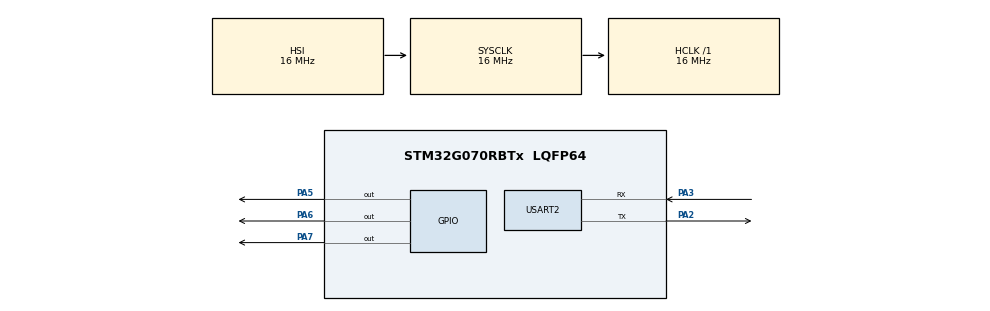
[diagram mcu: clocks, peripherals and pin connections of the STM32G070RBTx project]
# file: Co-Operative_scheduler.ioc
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Mcu.Family=STM32G0
Mcu.Name=STM32G070RBTx
Mcu.Package=LQFP64
NVIC.TIM3_IRQn=true\:3\:0\:false\:false\:true\:false\:true\:true
NVIC.TimeBase=TIM3_IRQn
NVIC.TimeBaseIP=TIM3
PA13.Mode=Serial_Wire
PA13.Signal=SYS_SWDIO
PA14-BOOT0.Mode=Serial_Wire
PA14-BOOT0.Signal=SYS_SWCLK
PA2.Mode=Asynchronous
PA2.Signal=USART2_TX
PA3.Mode=Asynchronous
PA3.Signal=USART2_RX
PA5.Signal=GPIO_Output
PA6.Signal=GPIO_Output
PA7.Signal=GPIO_Output
PC14-OSC32_IN\ (PC14).Mode=LSE-External-Oscillator
PC14-OSC32_IN\ (PC14).Signal=RCC_OSC32_IN
PC15-OSC32_OUT\ (PC15).Mode=LSE-External-Oscillator
PC15-OSC32_OUT\ (PC15).Signal=RCC_OSC32_OUT
PF0-OSC_IN\ (PF0).Mode=HSE-External-Clock-Source
PF0-OSC_IN\ (PF0).Signal=RCC_OSC_IN
ProjectManager.HeapSize=0x200
ProjectManager.StackSize=0x400
ProjectManager.TargetToolchain=STM32CubeIDE
RCC.AHBFreq_Value=16000000
RCC.CortexFreq_Value=16000000
RCC.EXTERNAL_CLOCK_VALUE=12288000
RCC.HCLKFreq_Value=16000000
RCC.HSE_VALUE=8000000
RCC.HSI_VALUE=16000000
RCC.SYSCLKFreq_VALUE=16000000
RCC.VCOOutputFreq_Value=128000000
USART2.VirtualMode-Asynchronous=VM_ASYNC
VP_SYS_VS_tim3.Mode=TIM3
board=NUCLEO-G070RB

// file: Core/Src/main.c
/* USER CODE BEGIN Header */
/**
  ******************************************************************************
  * @file           : main.c
  * @brief          : Main program body
  ******************************************************************************
  * @attention
  *
  * Copyright (c) 2023 STMicroelectronics.
  * All rights reserved.
  *
  * This software is licensed under terms that can be found in the LICENSE file
  * in the root directory of this software component.
  * If no LICENSE file comes with this software, it is provided AS-IS.
  *
  ******************************************************************************
  */
/* USER CODE END Header */
#include "main.h"

/* USER CODE BEGIN Includes */
#include "FreeRTOS.h"
//#include "semphr.h"
#include "task.h"
//#include "stdlib.h"

/* USER CODE END Includes */

UART_HandleTypeDef huart2;

void SystemClock_Config(void);
static void MX_GPIO_Init(void);
static void MX_USART2_UART_Init(void);
/* USER CODE BEGIN PFP */
static void task1(void *p);
static void task2(void *p);

/* USER CODE END PFP */

/* USER CODE BEGIN 0 */

void transmit1 (void)
{
	uint8_t data[] = "HELLO TASK1\r\n";
	HAL_UART_Transmit(&huart2, data, sizeof(data), 1000);
}

void transmit2 (void)
{
	uint8_t data[] = "HELLO TASK2\r\n";
	HAL_UART_Transmit(&huart2, data, sizeof(data), 1000);
}

static void task1(void *p)
{
	//uint32_t i;

	while(1)
	{
		//for (i=0; i<5;i++)
		//{
			transmit1();
		//HAL_GPIO_TogglePin(GPIOA,GPIO_PIN_5);
		//delay(1000);
		//vTaskDelay(1000);
			taskYIELD();

	//}
		//vTaskResume(t2);
		//vTaskSuspend(t1);
}
}

static void task2(void *p)
{
	//uint32_t i;

		while(1)
		{
			//for (i=0; i<5;i++)
			//{
			transmit2();
			//HAL_GPIO_TogglePin(GPIOA,GPIO_PIN_6);
			//delay(1000);
			vTaskDelay(1);

		//}
			//vTaskResume(t3);
				//		vTaskSuspend(t2);
	}
}

/* USER CODE END 0 */

int main(void)
{
  /* USER CODE BEGIN 1 */
	TaskHandle_t t1,t2;

  /* USER CODE END 1 */

  /* MCU Configuration--------------------------------------------------------*/

  /* Reset of all peripherals, Initializes the Flash interface and the Systick. */
  HAL_Init();

  /* Configure the system clock */
  SystemClock_Config();

  /* Initialize all configured peripherals */
  MX_GPIO_Init();
  MX_USART2_UART_Init();
  /* USER CODE BEGIN 2 */

  xTaskCreate(task1, "T1",500, NULL, 1, &t1);
  xTaskCreate(task2, "T2",500, NULL, 2, &t2);

  vTaskStartScheduler();

  /* USER CODE END 2 */

  /* Infinite loop */
  while (1)
  {

  }
}

void SystemClock_Config(void)
{
  RCC_OscInitTypeDef RCC_OscInitStruct = {0};
  RCC_ClkInitTypeDef RCC_ClkInitStruct = {0};

  /** Configure the main internal regulator output voltage
  */
  HAL_PWREx_ControlVoltageScaling(PWR_REGULATOR_VOLTAGE_SCALE1);

  /** Initializes the RCC Oscillators according to the specified parameters
  * in the RCC_OscInitTypeDef structure.
  */
  RCC_OscInitStruct.OscillatorType = RCC_OSCILLATORTYPE_HSI;
  RCC_OscInitStruct.HSIState = RCC_HSI_ON;
  RCC_OscInitStruct.HSIDiv = RCC_HSI_DIV1;
  RCC_OscInitStruct.HSICalibrationValue = RCC_HSICALIBRATION_DEFAULT;
  RCC_OscInitStruct.PLL.PLLState = RCC_PLL_NONE;
  if (HAL_RCC_OscConfig(&RCC_OscInitStruct) != HAL_OK)
  {
    Error_Handler();
  }

  /** Initializes the CPU, AHB and APB buses clocks
  */
  RCC_ClkInitStruct.ClockType = RCC_CLOCKTYPE_HCLK|RCC_CLOCKTYPE_SYSCLK
                              |RCC_CLOCKTYPE_PCLK1;
  RCC_ClkInitStruct.SYSCLKSource = RCC_SYSCLKSOURCE_HSI;
  RCC_ClkInitStruct.AHBCLKDivider = RCC_SYSCLK_DIV1;
  RCC_ClkInitStruct.APB1CLKDivider = RCC_HCLK_DIV1;

  if (HAL_RCC_ClockConfig(&RCC_ClkInitStruct, FLASH_LATENCY_0) != HAL_OK)
  {
    Error_Handler();
  }
}

static void MX_USART2_UART_Init(void)
{

  huart2.Instance = USART2;
  huart2.Init.BaudRate = 115200;
  huart2.Init.WordLength = UART_WORDLENGTH_8B;
  huart2.Init.StopBits = UART_STOPBITS_1;
  huart2.Init.Parity = UART_PARITY_NONE;
  huart2.Init.Mode = UART_MODE_TX_RX;
  huart2.Init.HwFlowCtl = UART_HWCONTROL_NONE;
  huart2.Init.OverSampling = UART_OVERSAMPLING_16;
  huart2.Init.OneBitSampling = UART_ONE_BIT_SAMPLE_DISABLE;
  huart2.Init.ClockPrescaler = UART_PRESCALER_DIV1;
  huart2.AdvancedInit.AdvFeatureInit = UART_ADVFEATURE_NO_INIT;
  if (HAL_UART_Init(&huart2) != HAL_OK)
  {
    Error_Handler();
  }
  if (HAL_UARTEx_SetTxFifoThreshold(&huart2, UART_TXFIFO_THRESHOLD_1_8) != HAL_OK)
  {
    Error_Handler();
  }
  if (HAL_UARTEx_SetRxFifoThreshold(&huart2, UART_RXFIFO_THRESHOLD_1_8) != HAL_OK)
  {
    Error_Handler();
  }
  if (HAL_UARTEx_DisableFifoMode(&huart2) != HAL_OK)
  {
    Error_Handler();
  }

}

static void MX_GPIO_Init(void)
{
  GPIO_InitTypeDef GPIO_InitStruct = {0};

  /* GPIO Ports Clock Enable */
  __HAL_RCC_GPIOC_CLK_ENABLE();
  __HAL_RCC_GPIOF_CLK_ENABLE();
  __HAL_RCC_GPIOA_CLK_ENABLE();

  /*Configure GPIO pin Output Level */
  HAL_GPIO_WritePin(GPIOA, GPIO_PIN_5|GPIO_PIN_6|GPIO_PIN_7, GPIO_PIN_RESET);

  /*Configure GPIO pins : PA5 PA6 PA7 */
  GPIO_InitStruct.Pin = GPIO_PIN_5|GPIO_PIN_6|GPIO_PIN_7;
  GPIO_InitStruct.Mode = GPIO_MODE_OUTPUT_PP;
  GPIO_InitStruct.Pull = GPIO_NOPULL;
  GPIO_InitStruct.Speed = GPIO_SPEED_FREQ_LOW;
  HAL_GPIO_Init(GPIOA, &GPIO_InitStruct);

}

void HAL_TIM_PeriodElapsedCallback(TIM_HandleTypeDef *htim)
{
  if (htim->Instance == TIM3) {
    HAL_IncTick();
  }
}

void Error_Handler(void)
{
  __disable_irq();
  while (1)
  {
  }
}
